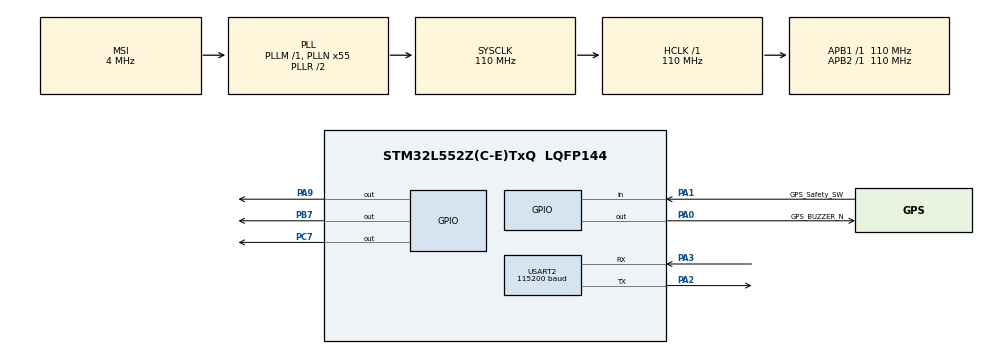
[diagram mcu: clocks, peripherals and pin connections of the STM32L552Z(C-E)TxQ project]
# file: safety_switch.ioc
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Mcu.Family=STM32L5
Mcu.Name=STM32L552Z(C-E)TxQ
Mcu.Package=LQFP144
Mcu.TrustZone=disable
NUCLEO-L552ZE-Q.BUTTON=1
NUCLEO-L552ZE-Q.LD1=true
NUCLEO-L552ZE-Q.LD2=true
NUCLEO-L552ZE-Q.LD3=true
NUCLEO-L552ZE-Q.VCP=true
NVIC.EXTI13_IRQn=true\:0\:0\:false\:false\:true\:false\:true\:true
NVIC.PriorityGroup=NVIC_PRIORITYGROUP_3
PA0.GPIO_Label=GPS_BUZZER_N
PA0.Signal=GPIO_Output
PA1.GPIO_Label=GPS_Safety_SW
PA1.Signal=GPIO_Input
PA13\ (JTMS/SWDIO).Signal=DEBUG_JTMS-SWDIO
PA14\ (JTCK/SWCLK).Signal=DEBUG_JTCK-SWCLK
PA2.Mode=Asynchronous
PA2.Signal=USART2_TX
PA3.Mode=Asynchronous
PA3.Signal=USART2_RX
PA9.Signal=GPIO_Output
PB3\ (JTDO/TRACESWO).Signal=DEBUG_JTDO-SWO
PB7.Signal=GPIO_Output
PC13.Signal=PWR_WKUP2
PC14-OSC32_IN\ (PC14).Signal=RCC_OSC32_IN
PC15-OSC32_OUT\ (PC15).Signal=RCC_OSC32_OUT
PC7.Signal=GPIO_Output
PG7.Signal=LPUART1_TX
PG8.Signal=LPUART1_RX
ProjectManager.HeapSize=0x200
ProjectManager.StackSize=0x400
ProjectManager.TargetToolchain=STM32CubeIDE
RCC.ADCCLockSelection=RCC_ADCCLKSOURCE_SYSCLK
RCC.ADCFreq_Value=110000000
RCC.AHBFreq_Value=110000000
RCC.APB1Freq_Value=110000000
RCC.APB1TimFreq_Value=110000000
RCC.APB2Freq_Value=110000000
RCC.APB2TimFreq_Value=110000000
RCC.CK48CLockSelection=RCC_USBCLKSOURCE_HSI48
RCC.CortexFreq_Value=110000000
RCC.HCLKFreq_Value=110000000
RCC.HSE_VALUE=8000000
RCC.HSI48_VALUE=48000000
RCC.HSI_VALUE=16000000
RCC.LSE_VALUE=32768
RCC.MSI_VALUE=4000000
RCC.PLLN=55
RCC.PLLSAI1N=24
RCC.RTCClockSelection=RCC_RTCCLKSOURCE_LSE
RCC.SYSCLKFreq_VALUE=110000000
RCC.SYSCLKSource=RCC_SYSCLKSOURCE_PLLCLK
RCC.USBFreq_Value=48000000
RCC.VCOOutputFreq_Value=220000000
USART2.BaudRate=115200
USART2.VirtualMode-Asynchronous=VM_ASYNC
VP_ICACHE_VS_ICACHE.Mode=DirectMappedCache
VP_NUCLEO-L552ZE-Q_VS_BSP_COMMON.Mode=COMMON
VP_PWR_VS_DBSignals.Mode=DisableDeadBatterySignals
VP_PWR_VS_SECSignals.Mode=Security/Privilege
board=NUCLEO-L552ZE-Q

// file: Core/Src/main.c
/* USER CODE BEGIN Header */
/**
  ******************************************************************************
  * @file           : main.c
  * @brief          : Main program body
  ******************************************************************************
  * @attention
  *
  * Copyright (c) 2026 STMicroelectronics.
  * All rights reserved.
  *
  * This software is licensed under terms that can be found in the LICENSE file
  * in the root directory of this software component.
  * If no LICENSE file comes with this software, it is provided AS-IS.
  *
  ******************************************************************************
  */
/* USER CODE END Header */
#include "main.h"

/* USER CODE BEGIN Includes */
#include "safety_manager.h"
/* USER CODE END Includes */

/* USER CODE BEGIN PD */
#define GPS_BUFFER_SIZE 128
/* USER CODE END PD */

COM_InitTypeDef BspCOMInit;

UART_HandleTypeDef huart2;

/* USER CODE BEGIN PV */
volatile char gps_buffer[GPS_BUFFER_SIZE];
volatile uint16_t gps_index = 0;
volatile uint8_t sentence_ready = 0;
volatile uint8_t gps_fix_valid = 0;
volatile uint8_t Safety_switch_PinState = 0;
volatile uint16_t gps_fix_quality = 0;

volatile uint8_t safety_switch_pressed = 0;
volatile uint8_t safety_enabled = 0;

volatile uint8_t buzzer_PinState = 1;
volatile uint32_t last_GPS_Update = 0;
volatile uint32_t nmea_total_count = 0;
volatile uint32_t nmea_gga_count = 0;
volatile uint32_t nmea_rmc_count = 0;
volatile uint32_t nmea_gsv_count = 0;
volatile uint32_t nmea_gll_count = 0;
volatile uint32_t nmea_gsa_count = 0;
volatile uint32_t nmea_other_count = 0;
volatile uint32_t nmea_last_report_ms = 0;
char nmea_last_type[4] = "???";

/* USER CODE END PV */

void SystemClock_Config(void);
static void MX_GPIO_Init(void);
static void MX_ICACHE_Init(void);
static void MX_USART2_UART_Init(void);

/* USER CODE BEGIN 0 */
uint8_t gps_byte;
/* USER CODE END 0 */

int main(void)
{

  /* MCU Configuration--------------------------------------------------------*/

  /* Reset of all peripherals, Initializes the Flash interface and the Systick. */
  HAL_Init();

  /* Configure the system clock */
  SystemClock_Config();

  /* Initialize all configured peripherals */
  MX_GPIO_Init();
  MX_ICACHE_Init();
  MX_USART2_UART_Init();

  /* Initialize leds */
  BSP_LED_Init(LED_GREEN);
  BSP_LED_Init(LED_BLUE);
  BSP_LED_Init(LED_RED);

  /* Initialize USER push-button, will be used to trigger an interrupt each time it's pressed.*/
  BSP_PB_Init(BUTTON_USER, BUTTON_MODE_EXTI);

  /* Initialize COM1 port (115200, 8 bits (7-bit data + 1 stop bit), no parity */
  BspCOMInit.BaudRate   = 115200;
  BspCOMInit.WordLength = COM_WORDLENGTH_8B;
  BspCOMInit.StopBits   = COM_STOPBITS_1;
  BspCOMInit.Parity     = COM_PARITY_NONE;
  BspCOMInit.HwFlowCtl  = COM_HWCONTROL_NONE;
  if (BSP_COM_Init(COM1, &BspCOMInit) != BSP_ERROR_NONE)
  {
    Error_Handler();
  }

  /* Infinite loop */
  /* USER CODE BEGIN WHILE */
  while (1)
  {
    if (HAL_UART_Receive(&huart2, &gps_byte, 1, 5) == HAL_OK)
    {
      if (gps_byte == '\r')
      {
      }
      else if (gps_byte == '\n')
      {
        gps_buffer[gps_index] = '\0';
        gps_index = 0;
        sentence_ready = 1;
      }
      else
      {
        if (gps_index < GPS_BUFFER_SIZE - 1)
        {
          gps_buffer[gps_index++] = gps_byte;
        }
        else
        {
          gps_index = 0;
        }
      }
    }

    if (sentence_ready)
    {
      if (gps_buffer[0] == '$')
      {
        char type0 = gps_buffer[3];
        char type1 = gps_buffer[4];
        char type2 = gps_buffer[5];

        nmea_last_type[0] = type0;
        nmea_last_type[1] = type1;
        nmea_last_type[2] = type2;
        nmea_last_type[3] = '\0';
        nmea_total_count++;

        if (type0 == 'G' && type1 == 'G' && type2 == 'A')
        {
          nmea_gga_count++;
          uint16_t index_variable = 0;
          uint8_t comma_count = 0;
          while(gps_buffer[index_variable] != '\0')
          {
            if(gps_buffer[index_variable] == ','){
              comma_count++;
            } if(comma_count == 6)
            {
              gps_fix_quality = gps_buffer[index_variable + 1] - '0';
              break;
            }
            index_variable++;
          }
        }
        else if (type0 == 'R' && type1 == 'M' && type2 == 'C')
        {
          nmea_rmc_count++;
          uint16_t index_variable = 0;
          uint8_t comma_count = 0;

          while (gps_buffer[index_variable] != '\0')
          {
            if (gps_buffer[index_variable] == ',')
            {
              comma_count++;
              if (comma_count == 2)
              {
                if (gps_buffer[index_variable + 1] == 'A')
                {
                  gps_fix_valid = 1;
                  uint32_t time_now = HAL_GetTick();
                  last_GPS_Update = time_now;
                }
                else if (gps_buffer[index_variable + 1] == 'V')
                {
                  gps_fix_valid = 0;
                }
                break;
              }
            }
            index_variable++;
          }
        }
        else if (type0 == 'G' && type1 == 'S' && type2 == 'V')
        {
          nmea_gsv_count++;
        }
        else if (type0 == 'G' && type1 == 'L' && type2 == 'L')
        {
          nmea_gll_count++;
        }
        else if (type0 == 'G' && type1 == 'S' && type2 == 'A')
        {
          nmea_gsa_count++;
        }
        else
        {
          nmea_other_count++;
        }
      }
      sentence_ready = 0;
    }
    SafetyManagerInput_t safety_input;
    SafetyManagerOutput_t safety_output;

    Safety_switch_PinState = HAL_GPIO_ReadPin(GPS_Safety_SW_GPIO_Port, GPS_Safety_SW_Pin);

    if (Safety_switch_PinState == GPIO_PIN_SET)
    {
        safety_switch_pressed = 1;
    }
    else
    {
        safety_switch_pressed = 0;
    }

    safety_input.switch_pressed = safety_switch_pressed;
    safety_input.gps_fix_valid = gps_fix_valid;
    safety_input.gps_fix_quality = gps_fix_quality;
    safety_input.last_gps_update_ms = last_GPS_Update;
    safety_input.now_ms = HAL_GetTick();

    SafetyManager_Update(&safety_input, &safety_output);

    safety_enabled = safety_output.safety_enabled;

    uint32_t time = HAL_GetTick();
    if(time - last_GPS_Update > GPS_TIMEOUT_MS){
      gps_fix_valid = 0;
      gps_fix_quality = 0;
    }

    if (time - nmea_last_report_ms >= 1000U)
    {
      nmea_last_report_ms = time;
      printf("NMEA total=%lu GGA=%lu RMC=%lu GSV=%lu GLL=%lu GSA=%lu OTHER=%lu last=%s fix_valid=%u fix_quality=%u\r\n",
             (unsigned long)nmea_total_count,
             (unsigned long)nmea_gga_count,
             (unsigned long)nmea_rmc_count,
             (unsigned long)nmea_gsv_count,
             (unsigned long)nmea_gll_count,
             (unsigned long)nmea_gsa_count,
             (unsigned long)nmea_other_count,
             nmea_last_type,
             gps_fix_valid,
             gps_fix_quality);
    }

    if(safety_enabled == 0)
    {
      HAL_GPIO_WritePin(GPS_BUZZER_N_GPIO_Port, GPS_BUZZER_N_Pin, GPIO_PIN_SET );
      buzzer_PinState = 0;
    }
    else
    {
      HAL_GPIO_WritePin(GPS_BUZZER_N_GPIO_Port, GPS_BUZZER_N_Pin, GPIO_PIN_RESET);
      buzzer_PinState = 1;
    }
    /* USER CODE END WHILE */

      }
}

void SystemClock_Config(void)
{
  RCC_OscInitTypeDef RCC_OscInitStruct = {0};
  RCC_ClkInitTypeDef RCC_ClkInitStruct = {0};

  /** Configure the main internal regulator output voltage
  */
  if (HAL_PWREx_ControlVoltageScaling(PWR_REGULATOR_VOLTAGE_SCALE0) != HAL_OK)
  {
    Error_Handler();
  }

  /** Initializes the RCC Oscillators according to the specified parameters
  * in the RCC_OscInitTypeDef structure.
  */
  RCC_OscInitStruct.OscillatorType = RCC_OSCILLATORTYPE_MSI;
  RCC_OscInitStruct.MSIState = RCC_MSI_ON;
  RCC_OscInitStruct.MSICalibrationValue = RCC_MSICALIBRATION_DEFAULT;
  RCC_OscInitStruct.MSIClockRange = RCC_MSIRANGE_6;
  RCC_OscInitStruct.PLL.PLLState = RCC_PLL_ON;
  RCC_OscInitStruct.PLL.PLLSource = RCC_PLLSOURCE_MSI;
  RCC_OscInitStruct.PLL.PLLM = 1;
  RCC_OscInitStruct.PLL.PLLN = 55;
  RCC_OscInitStruct.PLL.PLLP = RCC_PLLP_DIV7;
  RCC_OscInitStruct.PLL.PLLQ = RCC_PLLQ_DIV2;
  RCC_OscInitStruct.PLL.PLLR = RCC_PLLR_DIV2;
  if (HAL_RCC_OscConfig(&RCC_OscInitStruct) != HAL_OK)
  {
    Error_Handler();
  }

  /** Initializes the CPU, AHB and APB buses clocks
  */
  RCC_ClkInitStruct.ClockType = RCC_CLOCKTYPE_HCLK|RCC_CLOCKTYPE_SYSCLK
                              |RCC_CLOCKTYPE_PCLK1|RCC_CLOCKTYPE_PCLK2;
  RCC_ClkInitStruct.SYSCLKSource = RCC_SYSCLKSOURCE_PLLCLK;
  RCC_ClkInitStruct.AHBCLKDivider = RCC_SYSCLK_DIV1;
  RCC_ClkInitStruct.APB1CLKDivider = RCC_HCLK_DIV1;
  RCC_ClkInitStruct.APB2CLKDivider = RCC_HCLK_DIV1;

  if (HAL_RCC_ClockConfig(&RCC_ClkInitStruct, FLASH_LATENCY_5) != HAL_OK)
  {
    Error_Handler();
  }
}

static void MX_ICACHE_Init(void)
{

  /** Enable instruction cache in 1-way (direct mapped cache)
  */
  if (HAL_ICACHE_ConfigAssociativityMode(ICACHE_1WAY) != HAL_OK)
  {
    Error_Handler();
  }
  if (HAL_ICACHE_Enable() != HAL_OK)
  {
    Error_Handler();
  }

}

static void MX_USART2_UART_Init(void)
{

  huart2.Instance = USART2;
  huart2.Init.BaudRate = 115200;
  huart2.Init.WordLength = UART_WORDLENGTH_8B;
  huart2.Init.StopBits = UART_STOPBITS_1;
  huart2.Init.Parity = UART_PARITY_NONE;
  huart2.Init.Mode = UART_MODE_TX_RX;
  huart2.Init.HwFlowCtl = UART_HWCONTROL_NONE;
  huart2.Init.OverSampling = UART_OVERSAMPLING_16;
  huart2.Init.OneBitSampling = UART_ONE_BIT_SAMPLE_DISABLE;
  huart2.Init.ClockPrescaler = UART_PRESCALER_DIV1;
  huart2.AdvancedInit.AdvFeatureInit = UART_ADVFEATURE_NO_INIT;
  if (HAL_UART_Init(&huart2) != HAL_OK)
  {
    Error_Handler();
  }
  if (HAL_UARTEx_SetTxFifoThreshold(&huart2, UART_TXFIFO_THRESHOLD_1_8) != HAL_OK)
  {
    Error_Handler();
  }
  if (HAL_UARTEx_SetRxFifoThreshold(&huart2, UART_RXFIFO_THRESHOLD_1_8) != HAL_OK)
  {
    Error_Handler();
  }
  if (HAL_UARTEx_DisableFifoMode(&huart2) != HAL_OK)
  {
    Error_Handler();
  }

}

static void MX_GPIO_Init(void)
{
  GPIO_InitTypeDef GPIO_InitStruct = {0};

  /* GPIO Ports Clock Enable */
  __HAL_RCC_GPIOC_CLK_ENABLE();
  __HAL_RCC_GPIOA_CLK_ENABLE();
  __HAL_RCC_GPIOB_CLK_ENABLE();

  /*Configure GPIO pin Output Level */
  HAL_GPIO_WritePin(GPS_BUZZER_N_GPIO_Port, GPS_BUZZER_N_Pin, GPIO_PIN_RESET);

  /*Configure GPIO pin : GPS_BUZZER_N_Pin */
  GPIO_InitStruct.Pin = GPS_BUZZER_N_Pin;
  GPIO_InitStruct.Mode = GPIO_MODE_OUTPUT_PP;
  GPIO_InitStruct.Pull = GPIO_NOPULL;
  GPIO_InitStruct.Speed = GPIO_SPEED_FREQ_LOW;
  HAL_GPIO_Init(GPS_BUZZER_N_GPIO_Port, &GPIO_InitStruct);

  /*Configure GPIO pin : GPS_Safety_SW_Pin */
  GPIO_InitStruct.Pin = GPS_Safety_SW_Pin;
  GPIO_InitStruct.Mode = GPIO_MODE_INPUT;
  GPIO_InitStruct.Pull = GPIO_NOPULL;
  HAL_GPIO_Init(GPS_Safety_SW_GPIO_Port, &GPIO_InitStruct);

}

void Error_Handler(void)
{
  __disable_irq();
  while (1)
  {
  }
}
